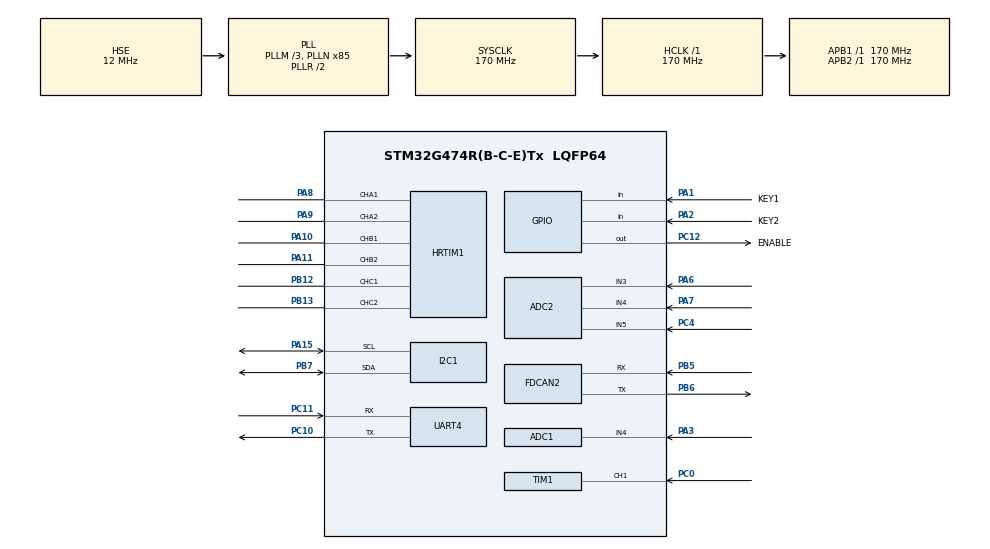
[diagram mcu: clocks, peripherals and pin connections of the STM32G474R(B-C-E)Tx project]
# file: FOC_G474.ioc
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ADC1.Channel-6\#ChannelRegularConversion=ADC_CHANNEL_4
ADC1.NbrOfConversionFlag=1
ADC1.OffsetNumber-6\#ChannelRegularConversion=ADC_OFFSET_NONE
ADC1.Rank-6\#ChannelRegularConversion=1
ADC1.SamplingTime-6\#ChannelRegularConversion=ADC_SAMPLETIME_24CYCLES_5
ADC1.master=1
ADC2.EOCSelection=ADC_EOC_SEQ_CONV
ADC2.EnableInjectedConversion=ENABLE
ADC2.EnableRegularConversion=DISABLE
ADC2.ExternalTrigInjecConv=ADC_EXTERNALTRIGINJEC_HRTIM_TRG2
ADC2.InjNumberOfConversion=3
ADC2.InjectedChannel-1\#ChannelInjectedConversion=ADC_CHANNEL_3
ADC2.InjectedChannel-2\#ChannelInjectedConversion=ADC_CHANNEL_4
ADC2.InjectedChannel-3\#ChannelInjectedConversion=ADC_CHANNEL_5
ADC2.InjectedOffsetNumber-1\#ChannelInjectedConversion=ADC_OFFSET_NONE
ADC2.InjectedOffsetNumber-2\#ChannelInjectedConversion=ADC_OFFSET_NONE
ADC2.InjectedOffsetNumber-3\#ChannelInjectedConversion=ADC_OFFSET_NONE
ADC2.InjectedRank-1\#ChannelInjectedConversion=1
ADC2.InjectedRank-2\#ChannelInjectedConversion=2
ADC2.InjectedRank-3\#ChannelInjectedConversion=3
ADC2.InjectedSamplingTime-1\#ChannelInjectedConversion=ADC_SAMPLETIME_47CYCLES_5
ADC2.InjectedSamplingTime-2\#ChannelInjectedConversion=ADC_SAMPLETIME_47CYCLES_5
ADC2.InjectedSamplingTime-3\#ChannelInjectedConversion=ADC_SAMPLETIME_47CYCLES_5
ADC2.Rank1_Channel=ADC_CHANNEL_3
ADC2.Rank2_Channel=ADC_CHANNEL_4
ADC2.Rank3_Channel=ADC_CHANNEL_5
Dma.ADC1.0.Direction=DMA_PERIPH_TO_MEMORY
Dma.ADC1.0.EventEnable=DISABLE
Dma.ADC1.0.Instance=DMA1_Channel1
Dma.ADC1.0.MemDataAlignment=DMA_MDATAALIGN_HALFWORD
Dma.ADC1.0.MemInc=DMA_MINC_ENABLE
Dma.ADC1.0.Mode=DMA_NORMAL
Dma.ADC1.0.PeriphDataAlignment=DMA_PDATAALIGN_HALFWORD
Dma.ADC1.0.PeriphInc=DMA_PINC_DISABLE
Dma.ADC1.0.Polarity=HAL_DMAMUX_REQ_GEN_RISING
Dma.ADC1.0.Priority=DMA_PRIORITY_LOW
Dma.ADC1.0.RequestNumber=1
Dma.ADC1.0.SignalID=NONE
Dma.ADC1.0.SyncEnable=DISABLE
Dma.ADC1.0.SyncPolarity=HAL_DMAMUX_SYNC_NO_EVENT
Dma.ADC1.0.SyncRequestNumber=1
Dma.ADC1.0.SyncSignalID=NONE
Dma.Request0=ADC1
FDCAN2.CalculateBaudRateNominal=3541666
FDCAN2.CalculateTimeBitNominal=282
FDCAN2.CalculateTimeQuantumNominal=94.11764705882354
HRTIM1.ADCTrigger2_Source1=HRTIM_ADCTRIGGEREVENT24_MASTER_PERIOD
HRTIM1.ADCTrigger_Id1=__NULL
HRTIM1.ADCTrigger_Id2=HRTIM_ADCTRIGGER_2
HRTIM1.CompareUnit1-Output_TA1TA2=HRTIM_COMPAREUNIT_1
HRTIM1.CompareUnit1-Output_TB1TB2=HRTIM_COMPAREUNIT_1
HRTIM1.CompareUnit1-Output_TC1TC2=HRTIM_COMPAREUNIT_1
HRTIM1.CompareUnit2-Output_TA1TA2=__NULL
HRTIM1.CompareValue1-Output_TA1TA2=10000
HRTIM1.CompareValue1-Output_TB1TB2=10000
HRTIM1.CompareValue1-Output_TC1TC2=10000
HRTIM1.DeadTimeInsertion-Output_TA1TA2=HRTIM_TIMDEADTIMEINSERTION_ENABLED
HRTIM1.DeadTimeInsertion-Output_TB1TB2=HRTIM_TIMDEADTIMEINSERTION_ENABLED
HRTIM1.DeadTimeInsertion-Output_TC1TC2=HRTIM_TIMDEADTIMEINSERTION_ENABLED
HRTIM1.Deadtimeconfig-Output_TA1TA2=HRTIM_TIMERINDEX_TIMER_A
HRTIM1.FallingValue-Output_TA1TA2=85
HRTIM1.FallingValue-Output_TB1TB2=85
HRTIM1.FallingValue-Output_TC1TC2=85
HRTIM1.NumberADCTriggerSource2=1
HRTIM1.NumberResetSource1-Output_TA1TA2=1
HRTIM1.NumberResetSource1-Output_TB1TB2=1
HRTIM1.NumberResetSource1-Output_TC1TC2=1
HRTIM1.NumberResetTrigger-Output_TA1TA2=1
HRTIM1.NumberResetTrigger-Output_TB1TB2=1
HRTIM1.NumberResetTrigger-Output_TC1TC2=1
HRTIM1.NumberSetSource1-Output_TA1TA2=1
HRTIM1.NumberSetSource1-Output_TB1TB2=1
HRTIM1.NumberSetSource1-Output_TC1TC2=1
HRTIM1.NumberUpdateTrigger-Output_TA1TA2=1
HRTIM1.NumberUpdateTrigger-Output_TB1TB2=1
HRTIM1.NumberUpdateTrigger-Output_TC1TC2=1
HRTIM1.Periode_MASTER=34000
HRTIM1.Periode_TA=17000
HRTIM1.Periode_TB=17000
HRTIM1.Periode_TC=17000
HRTIM1.PreloadEnable-MasterTimer=HRTIM_PRELOAD_ENABLED
HRTIM1.PreloadEnable-Output_TA1TA2=HRTIM_PRELOAD_ENABLED
HRTIM1.PreloadEnable-Output_TB1TB2=HRTIM_PRELOAD_ENABLED
HRTIM1.PreloadEnable-Output_TC1TC2=HRTIM_PRELOAD_ENABLED
HRTIM1.PrescalerDead-Output_TA1TA2=HRTIM_TIMDEADTIME_PRESCALERRATIO_DIV1
HRTIM1.PrescalerDead-Output_TB1TB2=HRTIM_TIMDEADTIME_PRESCALERRATIO_DIV1
HRTIM1.PrescalerDead-Output_TC1TC2=HRTIM_TIMDEADTIME_PRESCALERRATIO_DIV1
HRTIM1.PrescalerRatio_MASTER=HRTIM_PRESCALERRATIO_MUL4
HRTIM1.PrescalerRatio_TA=HRTIM_PRESCALERRATIO_MUL4
HRTIM1.PrescalerRatio_TB=HRTIM_PRESCALERRATIO_MUL4
HRTIM1.PrescalerRatio_TC=HRTIM_PRESCALERRATIO_MUL4
HRTIM1.RepetitionUpdate-MasterTimer=HRTIM_UPDATEONREPETITION_ENABLED
HRTIM1.RepetitionUpdate-Output_TA1TA2=HRTIM_UPDATEONREPETITION_DISABLED
HRTIM1.RepetitionUpdate-Output_TB1TB2=HRTIM_UPDATEONREPETITION_DISABLED
HRTIM1.RepetitionUpdate-Output_TC1TC2=HRTIM_UPDATEONREPETITION_DISABLED
HRTIM1.ResetOutput1_Source1-Output_TA1TA2=HRTIM_OUTPUTRESET_NONE
HRTIM1.ResetOutput1_Source1-Output_TB1TB2=HRTIM_OUTPUTRESET_NONE
HRTIM1.ResetOutput1_Source1-Output_TC1TC2=HRTIM_OUTPUTRESET_NONE
HRTIM1.ResetTrigger1-Output_TA1TA2=HRTIM_TIMRESETTRIGGER_MASTER_PER
HRTIM1.ResetTrigger1-Output_TB1TB2=HRTIM_TIMRESETTRIGGER_MASTER_PER
HRTIM1.ResetTrigger1-Output_TC1TC2=HRTIM_TIMRESETTRIGGER_MASTER_PER
HRTIM1.ResetUpdate-Output_TA1TA2=HRTIM_TIMUPDATEONRESET_DISABLED
HRTIM1.RisingValue-Output_TA1TA2=85
HRTIM1.RisingValue-Output_TB1TB2=85
HRTIM1.RisingValue-Output_TC1TC2=85
HRTIM1.SetOutput1_Source1-Output_TA1TA2=HRTIM_OUTPUTSET_TIMCMP1
HRTIM1.SetOutput1_Source1-Output_TB1TB2=HRTIM_OUTPUTSET_TIMCMP1
HRTIM1.SetOutput1_Source1-Output_TC1TC2=HRTIM_OUTPUTSET_TIMCMP1
HRTIM1.UpDownMode-Output_TA1TA2=HRTIM_TIMERUPDOWNMODE_UPDOWN
HRTIM1.UpDownMode-Output_TB1TB2=HRTIM_TIMERUPDOWNMODE_UPDOWN
HRTIM1.UpDownMode-Output_TC1TC2=HRTIM_TIMERUPDOWNMODE_UPDOWN
HRTIM1.UpdateTrigger1-Output_TA1TA2=HRTIM_TIMUPDATETRIGGER_MASTER
HRTIM1.UpdateTrigger1-Output_TB1TB2=HRTIM_TIMUPDATETRIGGER_MASTER
HRTIM1.UpdateTrigger1-Output_TC1TC2=HRTIM_TIMUPDATETRIGGER_MASTER
I2C1.Timing=0x40B285C2
Mcu.Family=STM32G4
Mcu.Name=STM32G474R(B-C-E)Tx
Mcu.Package=LQFP64
NVIC.ADC1_2_IRQn=true\:0\:0\:false\:false\:true\:true\:true\:true
NVIC.DMA1_Channel1_IRQn=true\:0\:0\:false\:false\:true\:false\:true\:true
NVIC.PriorityGroup=NVIC_PRIORITYGROUP_4
NVIC.TIM1_CC_IRQn=true\:1\:0\:true\:false\:true\:true\:true\:true
PA1.GPIO_Label=KEY1
PA1.Signal=GPIO_Input
PA10.Mode=Output_TB1TB2
PA10.Signal=HRTIM1_CHB1
PA11.Mode=Output_TB1TB2
PA11.Signal=HRTIM1_CHB2
PA13.Mode=Serial_Wire
PA13.Signal=SYS_JTMS-SWDIO
PA14.Mode=Serial_Wire
PA14.Signal=SYS_JTCK-SWCLK
PA15.Mode=I2C
PA15.Signal=I2C1_SCL
PA2.GPIO_Label=KEY2
PA2.Signal=GPIO_Input
PA3.Mode=IN4-Single-Ended
PA3.Signal=ADC1_IN4
PA6.Mode=IN3-Single-Ended
PA6.Signal=ADC2_IN3
PA7.Mode=IN4-Single-Ended
PA7.Signal=ADC2_IN4
PA8.Mode=Output_TA1TA2
PA8.Signal=HRTIM1_CHA1
PA9.Mode=Output_TA1TA2
PA9.Signal=HRTIM1_CHA2
PB12.Mode=Output_TC1TC2
PB12.Signal=HRTIM1_CHC1
PB13.Mode=Output_TC1TC2
PB13.Signal=HRTIM1_CHC2
PB5.Mode=FDCAN_Activate
PB5.Signal=FDCAN2_RX
PB6.Mode=FDCAN_Activate
PB6.Signal=FDCAN2_TX
PB7.Mode=I2C
PB7.Signal=I2C1_SDA
PC0.Signal=S_TIM1_CH1
PC10.Mode=Asynchronous
PC10.Signal=UART4_TX
PC11.Mode=Asynchronous
PC11.Signal=UART4_RX
PC12.GPIO_Label=ENABLE
PC12.Signal=GPIO_Output
PC4.Mode=IN5-Single-Ended
PC4.Signal=ADC2_IN5
PF0-OSC_IN.Mode=HSE-External-Oscillator
PF0-OSC_IN.Signal=RCC_OSC_IN
PF1-OSC_OUT.Mode=HSE-External-Oscillator
PF1-OSC_OUT.Signal=RCC_OSC_OUT
ProjectManager.HeapSize=0x200
ProjectManager.StackSize=0x400
ProjectManager.TargetToolchain=MDK-ARM V5.32
RCC.ADC12Freq_Value=170000000
RCC.ADC345Freq_Value=170000000
RCC.AHBFreq_Value=170000000
RCC.APB1Freq_Value=170000000
RCC.APB1TimFreq_Value=170000000
RCC.APB2Freq_Value=170000000
RCC.APB2TimFreq_Value=170000000
RCC.CortexFreq_Value=170000000
RCC.EXTERNAL_CLOCK_VALUE=12288000
RCC.HCLKFreq_Value=170000000
RCC.HSE_VALUE=12000000
RCC.HSI48_VALUE=48000000
RCC.HSI_VALUE=16000000
RCC.LSE_VALUE=32768
RCC.PLLM=RCC_PLLM_DIV3
RCC.PLLN=85
RCC.PLLSourceVirtual=RCC_PLLSOURCE_HSE
RCC.SYSCLKFreq_VALUE=170000000
RCC.SYSCLKSource=RCC_SYSCLKSOURCE_PLLCLK
RCC.USBFreq_Value=170000000
RCC.VCOOutputFreq_Value=340000000
SH.S_TIM1_CH1.0=TIM1_CH1,Input_Capture1_from_TI1
SH.S_TIM1_CH1.1=TIM1_CH1,TriggerSource_TI1FP1
STMicroelectronics.X-CUBE-ALGOBUILD.1.5.0.LibraryCcDSPOoLibraryJjDSPOoLibrary=true
TIM1.Channel-Input_Capture1_from_TI1=TIM_CHANNEL_1
TIM1.Channel-Input_Capture2_from_TI1_63=TIM_CHANNEL_2
TIM1.ICFilter_CH1=3
TIM1.ICPolarity_CH2=TIM_INPUTCHANNELPOLARITY_FALLING
TIM1.Prescaler=3
TIM1.TIM_MasterSlaveMode=TIM_MASTERSLAVEMODE_DISABLE
VP_HRTIM1_VS_hrtimMasterTimerNoOutput.Mode=MasterTimer
VP_STMicroelectronics.X-CUBE-ALGOBUILD_VS_DSPOoLibraryJjLibrary_1.5.0_1.5.0.Mode=DSPOoLibraryJjLibrary
VP_SYS_VS_DBSignals.Mode=DisableDeadBatterySignals
VP_TIM1_VS_ClockSourceINT.Mode=Internal
VP_TIM1_VS_ControllerModeReset.Mode=Reset Mode
VP_TIM1_VS_indirect_ch1.Mode=Input_Capture2_from_TI1_63
board=custom

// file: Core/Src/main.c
/* USER CODE BEGIN Header */
/**
  ******************************************************************************
  * @file           : main.c
  * @brief          : Main program body
  ******************************************************************************
  * @attention
  *
  * Copyright (c) 2026 STMicroelectronics.
  * All rights reserved.
  *
  * This software is licensed under terms that can be found in the LICENSE file
  * in the root directory of this software component.
  * If no LICENSE file comes with this software, it is provided AS-IS.
  *
  ******************************************************************************
  */
/* USER CODE END Header */
#include "main.h"
#include "adc.h"
#include "dma.h"
#include "fdcan.h"
#include "hrtim.h"
#include "i2c.h"
#include "tim.h"
#include "usart.h"
#include "gpio.h"

/* USER CODE BEGIN Includes */
#include "arm_math.h"
#include "OLED.h"
#include "Control.h"
#include "Sample.h"
#include "AS5048_SPI.h"
#include <stdio.h>
#include <math.h>
/* USER CODE END Includes */

/* USER CODE BEGIN PM */
extern CurrentSample_t current_sample;  //三相电流采样值，单位[A]，在ADC2注入转换完成回调中更新
/* USER CODE END PM */

/* USER CODE BEGIN PV */
AS5048A_HandleTypeDef as5048a;   //磁编码器句柄，TIM1 PWM输入捕获（PC0）
/* USER CODE END PV */

void SystemClock_Config(void);

/* USER CODE BEGIN 0 */
//浮点数转定点字符串，例如 Fx(buf, -1.2345f, 3) -> "-1.235"
//不依赖printf的%f，避免OLED上浮点显示被截断
static char *Fx(char *buf, float v, uint8_t dec)
{
  static const int32_t p10[4] = {1, 10, 100, 1000};
  int32_t s;
  char sign = (v < 0.0f) ? '-' : '+';

  if (dec > 3U) dec = 3U;
  s = (int32_t)(fabsf(v) * (float)p10[dec] + 0.5f);
  if (dec == 0U)
  {
    sprintf(buf, "%c%ld", sign, (long)s);
  }
  else
  {
    sprintf(buf, "%c%ld.%0*ld", sign, (long)(s / p10[dec]), (int)dec, (long)(s % p10[dec]));
  }
  return buf;
}
/* USER CODE END 0 */

int main(void)
{

  /* MCU Configuration--------------------------------------------------------*/

  /* Reset of all peripherals, Initializes the Flash interface and the Systick. */
  HAL_Init();

  /* Configure the system clock */
  SystemClock_Config();

  /* Initialize all configured peripherals */
  MX_GPIO_Init();
  MX_DMA_Init();
  MX_HRTIM1_Init();
  MX_ADC1_Init();
  MX_ADC2_Init();
  MX_FDCAN2_Init();
  MX_I2C1_Init();
  MX_UART4_Init();
  MX_TIM1_Init();
  /* USER CODE BEGIN 2 */
  AS5048A_Init(&as5048a, &htim1);
  if (AS5048A_Start(&as5048a) != HAL_OK)
  {
    Error_Handler();
  }
  /* USER CODE END 2 */

  /* Infinite loop */
  /* USER CODE BEGIN WHILE */
  OLED_Init();
  Driver_Init();
  Driver_Enable();   //对齐->校验->电压模式FOC，在ADC2注入转换完成回调中执行（Control.c）

  while (1)
  {
    /* USER CODE END WHILE */

    /* USER CODE BEGIN 3 */
    //FOC调试显示（6x8字体，8行）
    {
      char a[16], b[16];
      OLED_Clear();
      OLED_Printf(0,  0, OLED_6X8, "S:%d F:%d dir:%d", (int)foc_dbg.state, (int)foc_dbg.fault, (int)foc_dbg.dir);
      OLED_Printf(0,  8, OLED_6X8, "pole:%s n:%lu", Fx(a, foc_dbg.pole_ratio, 2), (unsigned long)(foc_dbg.isr_cnt / 20000U));
      OLED_Printf(0, 16, OLED_6X8, "m0r:%s m0:%s", Fx(a, foc_dbg.theta_m0_raw, 3), Fx(b, foc_dbg.theta_m0, 3));
      OLED_Printf(0, 24, OLED_6X8, "fw:%s rv:%s", Fx(a, foc_dbg.diff_fwd, 3), Fx(b, foc_dbg.diff_rev, 3));
      OLED_Printf(0, 32, OLED_6X8, "avg:%s sp:%s", Fx(a, foc_dbg.diff_mean, 3), Fx(b, foc_dbg.diff_span, 3));
      OLED_Printf(0, 40, OLED_6X8, "id:%s iq:%s", Fx(a, foc_dbg.id, 3), Fx(b, foc_dbg.iq, 3));
      OLED_Printf(0, 48, OLED_6X8, "rpm:%s uq:%s", Fx(a, foc_dbg.rpm, 1), Fx(b, foc_uq, 1));
      OLED_Printf(0, 56, OLED_6X8, "th:%s e:%lu", Fx(a, foc_dbg.theta_m, 3), (unsigned long)as5048a.error_count);
    }
    OLED_Update();
    HAL_Delay(100);
  }
  /* USER CODE END 3 */
}

void SystemClock_Config(void)
{
  RCC_OscInitTypeDef RCC_OscInitStruct = {0};
  RCC_ClkInitTypeDef RCC_ClkInitStruct = {0};

  /** Configure the main internal regulator output voltage
  */
  HAL_PWREx_ControlVoltageScaling(PWR_REGULATOR_VOLTAGE_SCALE1_BOOST);

  /** Initializes the RCC Oscillators according to the specified parameters
  * in the RCC_OscInitTypeDef structure.
  */
  RCC_OscInitStruct.OscillatorType = RCC_OSCILLATORTYPE_HSE;
  RCC_OscInitStruct.HSEState = RCC_HSE_ON;
  RCC_OscInitStruct.PLL.PLLState = RCC_PLL_ON;
  RCC_OscInitStruct.PLL.PLLSource = RCC_PLLSOURCE_HSE;
  RCC_OscInitStruct.PLL.PLLM = RCC_PLLM_DIV3;
  RCC_OscInitStruct.PLL.PLLN = 85;
  RCC_OscInitStruct.PLL.PLLP = RCC_PLLP_DIV2;
  RCC_OscInitStruct.PLL.PLLQ = RCC_PLLQ_DIV2;
  RCC_OscInitStruct.PLL.PLLR = RCC_PLLR_DIV2;
  if (HAL_RCC_OscConfig(&RCC_OscInitStruct) != HAL_OK)
  {
    Error_Handler();
  }

  /** Initializes the CPU, AHB and APB buses clocks
  */
  RCC_ClkInitStruct.ClockType = RCC_CLOCKTYPE_HCLK|RCC_CLOCKTYPE_SYSCLK
                              |RCC_CLOCKTYPE_PCLK1|RCC_CLOCKTYPE_PCLK2;
  RCC_ClkInitStruct.SYSCLKSource = RCC_SYSCLKSOURCE_PLLCLK;
  RCC_ClkInitStruct.AHBCLKDivider = RCC_SYSCLK_DIV1;
  RCC_ClkInitStruct.APB1CLKDivider = RCC_HCLK_DIV1;
  RCC_ClkInitStruct.APB2CLKDivider = RCC_HCLK_DIV1;

  if (HAL_RCC_ClockConfig(&RCC_ClkInitStruct, FLASH_LATENCY_4) != HAL_OK)
  {
    Error_Handler();
  }
}

/* USER CODE BEGIN 4 */
//TIM1输入捕获回调：每个PWM上升沿进入一次，解码上一帧角度
void HAL_TIM_IC_CaptureCallback(TIM_HandleTypeDef *htim)
{
  AS5048A_CaptureCallback(&as5048a, htim);
}

/* USER CODE END 4 */

void Error_Handler(void)
{
  __disable_irq();
  while (1)
  {
  }
}
